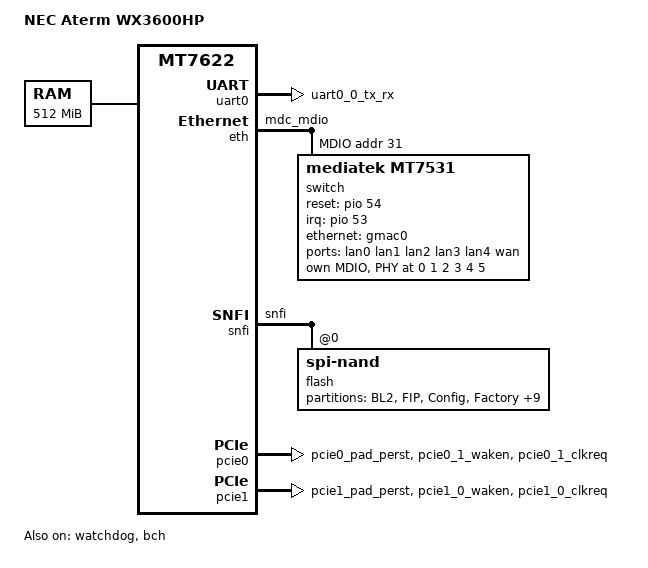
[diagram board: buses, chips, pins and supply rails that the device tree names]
// SPDX-License-Identifier: (GPL-2.0-only OR MIT)
// Experimental board port; no upstream support declaration. Personalization required.
/dts-v1/;
#include <dt-bindings/gpio/gpio.h>
#include "mt7622.dtsi"
#include "mt6380.dtsi"
/ {
 model = "NEC Aterm WX3600HP";
 compatible = "nec,aterm-wx3600hp", "mediatek,mt7622";
 aliases { serial0 = &uart0; };
 chosen {
  stdout-path = "serial0:115200n8";
  bootargs = "console=ttyS0,115200n1 earlycon=uart8250,mmio32,0x11002000 swiotlb=512 panic=10";
 };
 memory@40000000 { device_type = "memory"; reg = <0 0x40000000 0 0x20000000>; };

};
&cpu0 { proc-supply = <&mt6380_vcpu_reg>; sram-supply = <&mt6380_vm_reg>; };
&cpu1 { proc-supply = <&mt6380_vcpu_reg>; sram-supply = <&mt6380_vm_reg>; };
&pio {
 ramtest_eth_pins: ramtest-eth-pins { mux { function = "eth"; groups = "mdc_mdio"; }; };
 ramtest_uart_pins: ramtest-uart-pins { mux { function = "uart"; groups = "uart0_0_tx_rx"; }; };
 ramtest_pmic_pins: ramtest-pmic-pins { mux { function = "pmic"; groups = "pmic_bus"; }; };
};
&pwrap { pinctrl-names = "default"; pinctrl-0 = <&ramtest_pmic_pins>; status = "okay"; };
&uart0 { pinctrl-names = "default"; pinctrl-0 = <&ramtest_uart_pins>; status = "okay"; };
&watchdog { status = "okay"; };
&eth {
 pinctrl-names = "default"; pinctrl-0 = <&ramtest_eth_pins>; status = "okay";
 gmac0: mac@0 {
  compatible = "mediatek,eth-mac"; reg = <0>; phy-mode = "2500base-x";
  fixed-link { speed = <2500>; full-duplex; pause; };
 };
 mdio-bus {
  #address-cells = <1>; #size-cells = <0>;
  switch@1f {
   compatible = "mediatek,mt7531"; reg = <31>;
   reset-gpios = <&pio 54 GPIO_ACTIVE_HIGH>;
   interrupt-controller; #interrupt-cells = <1>;
   interrupt-parent = <&pio>; interrupts = <53 IRQ_TYPE_LEVEL_HIGH>;
   mdio {
    #address-cells = <1>; #size-cells = <0>;
    lan_phy0: ethernet-phy@0 { reg = <0>; mediatek,led-config = <0x21 0x8009 0x26 0xc007 0x27 0x003f>; };
    lan_phy1: ethernet-phy@1 { reg = <1>; mediatek,led-config = <0x21 0x8009 0x26 0xc007 0x27 0x003f>; };
    lan_phy2: ethernet-phy@2 { reg = <2>; mediatek,led-config = <0x21 0x8009 0x26 0xc007 0x27 0x003f>; };
    lan_phy3: ethernet-phy@3 { reg = <3>; mediatek,led-config = <0x21 0x8009 0x26 0xc007 0x27 0x003f>; };
    lan_phy4: ethernet-phy@4 { reg = <4>; mediatek,led-config = <0x21 0x8009 0x26 0xc007 0x27 0x003f>; };
    wan_phy: ethernet-phy@5 {
     reg = <5>;
     reset-gpios = <&pio 101 GPIO_ACTIVE_LOW>;
     reset-assert-us = <1000000>; reset-deassert-us = <3000000>;
    };
   };
   ports {
    #address-cells = <1>; #size-cells = <0>;
    /* Labels are switch indices; front-panel numbering remains unverified. */
    port@0 { reg = <0>; label = "lan0"; phy-handle = <&lan_phy0>; };
    port@1 { reg = <1>; label = "lan1"; phy-handle = <&lan_phy1>; };
    port@2 { reg = <2>; label = "lan2"; phy-handle = <&lan_phy2>; };
    port@3 { reg = <3>; label = "lan3"; phy-handle = <&lan_phy3>; };
    port@4 { reg = <4>; label = "lan4"; phy-handle = <&lan_phy4>; };
    port@5 { reg = <5>; label = "wan"; phy-mode = "2500base-x"; phy-handle = <&wan_phy>; };
    port@6 {
     reg = <6>; ethernet = <&gmac0>; phy-mode = "2500base-x";
     fixed-link { speed = <2500>; full-duplex; pause; };
    };
   };
  };
 };
};
/* Unused controllers remain disabled; PCIe and SNFI are enabled below. */
&nandc { status = "disabled"; };
&snfi { status = "disabled"; };
&bch { status = "disabled"; };
&nor_flash { status = "disabled"; };
&mmc0 { status = "disabled"; };
&mmc1 { status = "disabled"; };
&pcie0 { status = "disabled"; };
&pcie1 { status = "disabled"; };
&wmac { status = "disabled"; };
&ssusb { status = "disabled"; };
&sata { status = "disabled"; };

&secmon_reserved { reg = <0 0x43000000 0 0x01000000>; };
&wed0 { status = "disabled"; };
&wed1 { status = "disabled"; };
&hsdma { status = "disabled"; };
&eth { /delete-property/ mediatek,wed; /delete-property/ mediatek,pcie-mirror; };

&pio {
 wifi_pcie0_pins: wifi-pcie0-pins { mux { function = "pcie"; groups = "pcie0_pad_perst", "pcie0_1_waken", "pcie0_1_clkreq"; }; };
 wifi_pcie1_pins: wifi-pcie1-pins { mux { function = "pcie"; groups = "pcie1_pad_perst", "pcie1_0_waken", "pcie1_0_clkreq"; }; };
};
&pcie0 { pinctrl-names = "default"; pinctrl-0 = <&wifi_pcie0_pins>; status = "okay"; };
&pcie1 { pinctrl-names = "default"; pinctrl-0 = <&wifi_pcie1_pins>; status = "okay"; };
&slot0 {
 wifi0: wifi@0,0 {
  ieee80211-freq-limit = <2400000 2500000>;
  compatible = "mediatek,mt76"; reg = <0 0 0 0 0>;
  status = "disabled"; /* tools/personalize.py supplies this device's EEPROM. */
 };
};
&slot1 {
 wifi1: wifi@0,0 {
  ieee80211-freq-limit = <5000000 6000000>;
  compatible = "mediatek,mt76"; reg = <0 0 0 0 0>;
  status = "disabled"; /* tools/personalize.py supplies this device's EEPROM. */
 };
};

&bch { status = "okay"; };
&pio { ramtest_snfi_pins: ramtest-snfi-pins { mux { function = "flash"; groups = "snfi"; }; }; };
&snfi {
 status = "okay"; pinctrl-names = "default"; pinctrl-0 = <&ramtest_snfi_pins>;
 flash@0 {
  compatible = "spi-nand"; reg = <0>; spi-tx-bus-width = <4>; spi-rx-bus-width = <4>;
  nand-ecc-engine = <&snfi>; nand-ecc-strength = <4>; nand-ecc-step-size = <512>;
  mediatek,nmbm;
  partitions { compatible = "fixed-partitions"; #address-cells = <1>; #size-cells = <1>;
   partition@0 { label = "BL2"; reg = <0 0x80000>; read-only; };
   partition@80000 { label = "FIP"; reg = <0x80000 0x200000>; read-only; };
   partition@280000 { label = "Config"; reg = <0x280000 0x80000>; read-only; };
   partition@300000 { label = "Factory"; reg = <0x300000 0x100000>; read-only; };
   partition@400000 { label = "bootseq"; reg = <0x400000 0x40000>; read-only; };
   partition@440000 { label = "devinfo"; reg = <0x440000 0x40000>; read-only; };
   partition@1500000 { label = "System1"; reg = <0x1500000 0x2000000>; read-only; };
   partition@4000000 { label = "boot-carrier"; reg = <0x4000000 0x280000>; read-only; };
   partition@4280000 { label = "rootfs"; reg = <0x4280000 0xa80000>; read-only; };
   partition@4d00000 { label = "openwrt-kernel"; reg = <0x4d00000 0xbc0000>; read-only; };
   partition@5900000 { label = "openwrt-boot-data"; reg = <0x5900000 0x20000>; read-only; };
   partition@5920000 { label = "ubi"; reg = <0x5920000 0x6e0000>; };
   partition@58c0000 { label = "boot-selection"; reg = <0x58c0000 0x40000>; };
  };
 };
};
